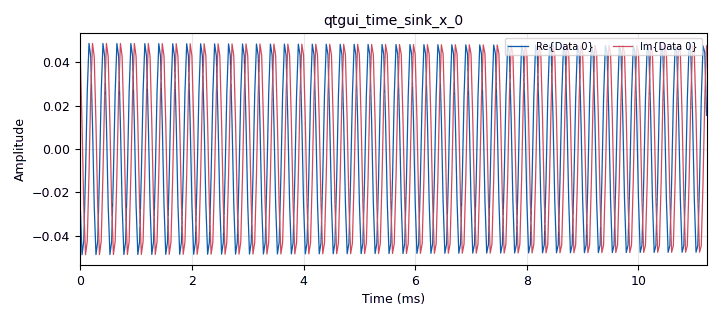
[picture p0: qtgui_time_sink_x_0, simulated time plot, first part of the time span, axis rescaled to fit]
options:
  parameters:
    author: tyler
    generate_options: qt_gui
    id: testing
    output_language: python
    title: Not titled yet
  states: {}

blocks:
- name: samp_rate
  id: variable
  parameters:
    value: '32000'
  states: {}
- name: tuning
  id: variable_qtgui_range
  parameters:
    label: tuning
    orient: Qt.Horizontal
    start: 0.5e6
    step: 10e3
    stop: 30e6
    value: 20.1e6
  states: {}
- name: volume
  id: variable_qtgui_range
  parameters:
    label: volume
    orient: Qt.Horizontal
    start: '0'
    step: '50e-3'
    stop: '10'
    value: '50e-3'
  states: {}
- name: analog_sig_source_x_0
  id: analog_sig_source_x
  parameters:
    amp: '1'
    freq: tuning
    offset: '0'
    phase: '0'
    samp_rate: samp_rate
    type: complex
    waveform: analog.GR_COS_WAVE
  states: {}
- name: blocks_multiply_const_vxx_0_0
  id: blocks_multiply_const_vxx
  parameters:
    const: volume
    type: complex
  states: {}
- name: blocks_throttle_0
  id: blocks_throttle
  parameters:
    samples_per_second: samp_rate
    type: complex
  states: {}
- name: qtgui_time_sink_x_0
  id: qtgui_time_sink_x
  parameters:
    size: '1024'
    srate: samp_rate
    type: complex
    ymax: '4'
    ymin: '-4'
  states: {}

connections:
- [analog_sig_source_x_0, '0', blocks_throttle_0, '0']
- [blocks_multiply_const_vxx_0_0, '0', qtgui_time_sink_x_0, '0']
- [blocks_throttle_0, '0', blocks_multiply_const_vxx_0_0, '0']

metadata:
  file_format: 1
